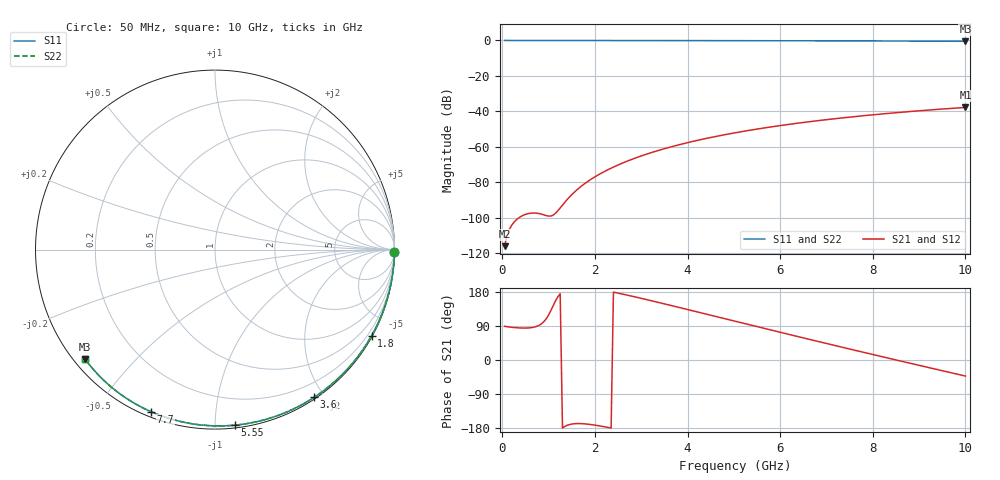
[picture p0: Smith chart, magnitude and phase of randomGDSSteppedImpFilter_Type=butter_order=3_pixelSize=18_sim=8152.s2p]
! freq	dB(S11)	phase(S11)	dB(S12)	phase(S12)
!  dB(S21)	phase(S21)	dB(S22)	phase(S22)
!S-par simulation data
#  GHz  S  DB  R 50
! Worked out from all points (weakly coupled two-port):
!   200 points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, 50 MHz to 10 GHz, reference 50 ohm
!   highest |S21| = -37.82 dB at 10 GHz (marker M1); lowest = -116.2 dB at 50 MHz (marker M2)
!   lowest |S11| = -0.5 dB at 10 GHz (marker M3), VSWR 36.72, Z = 1.54 - j18.3 ohm
!   |S11| at or under -10 dB: nowhere
!   |S22| runs from -0.5 to 0.0 dB; largest |S21 - S12| = 0
!   S11 on the Smith chart (normalised r, x): 50 MHz: open; 1.8 GHz: 0.03, -3.90; 3.6 GHz: 0.02, -1.88; 5.55 GHz: 0.02, -1.12; 7.7 GHz: 0.02, -0.68; 10 GHz: 0.03, -0.37
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0.05  -0.00 -0.8  -116.16 88.9  -116.16 88.9  -0.00 -0.8
0.45  -0.01 -7.3  -98.74 84.3  -98.74 84.3  -0.01 -7.3
0.9  -0.02 -14.5  -98.51 101.4  -98.51 101.4  -0.02 -14.5
1.75  -0.04 -28.0  -81.42 -168.2  -81.42 -168.2  -0.04 -28.0
1.8  -0.04 -28.7  -80.45 -168.7  -80.45 -168.7  -0.04 -28.7
1.85  -0.04 -29.5  -79.54 -169.3  -79.54 -169.3  -0.04 -29.5
2.05  -0.04 -32.6  -76.23 -172.8  -76.23 -172.8  -0.04 -32.6
2.25  -0.05 -35.7  -73.38 -177.2  -73.38 -177.2  -0.05 -35.7
2.55  -0.05 -40.3  -69.73 175.2  -69.73 175.2  -0.05 -40.3
2.95  -0.06 -46.4  -65.67 164.2  -65.67 164.2  -0.06 -46.4
3.4  -0.07 -53.1  -61.87 151.1  -61.87 151.1  -0.07 -53.1
3.6  -0.08 -56.1  -60.39 145.2  -60.39 145.2  -0.08 -56.1
3.9  -0.08 -60.5  -58.34 136.2  -58.34 136.2  -0.08 -60.5
4.3  -0.09 -66.2  -55.90 124.2  -55.90 124.2  -0.09 -66.2
5.05  -0.12 -76.8  -52.03 101.6  -52.03 101.6  -0.12 -76.8
5.55  -0.14 -83.6  -49.83 86.6  -49.83 86.6  -0.14 -83.6
6.1  -0.16 -91.0  -47.70 70.2  -47.70 70.2  -0.16 -91.0
6.7  -0.19 -98.8  -45.65 52.4  -45.65 52.4  -0.19 -98.8
7.7  -0.26 -111.5  -42.75 23.2  -42.75 23.2  -0.26 -111.5
8.35  -0.31 -119.6  -41.14 4.4  -41.14 4.4  -0.31 -119.6
9.2  -0.39 -130.0  -39.31 -19.8  -39.31 -19.8  -0.39 -130.0
10  -0.47 -139.8  -37.82 -42.4  -37.82 -42.4  -0.47 -139.8
